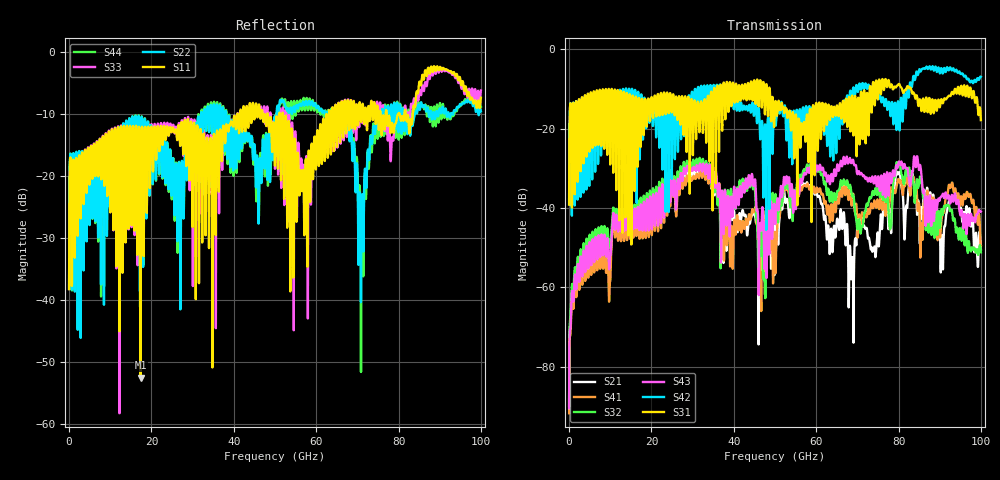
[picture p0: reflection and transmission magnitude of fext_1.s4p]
# Hz S RI R 50
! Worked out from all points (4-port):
!   10000 points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, 10 MHz to 100 GHz, reference 50 ohm
!   strongest paths, dB at 10 MHz, 25.01 GHz, 50.01 GHz, 75.01 GHz, 100 GHz:
!     S31: -39.1, -14.7, -14.0, -12.2, -17.9
!     S42: -39.1, -23.6, -16.0, -11.7, -6.9
!     S43: -90.4, -32.2, -43.6, -32.3, -40.9
!     S32: -88.7, -31.7, -38.9, -35.5, -51.1
!     S41: -91.7, -33.6, -47.1, -38.6, -49.6
!     S21: -89.7, -33.0, -46.0, -46.7, -50.4
!   lowest |S11| = -52.6 dB at 17.37 GHz (marker M1), VSWR 1.00, Z = 50 + j0.231 ohm
!   |S11| at or under -10 dB: start of sweep to 40.88 GHz; 48.2 GHz to 51.06 GHz (2.856 GHz wide, 5.76 % of centre); 51.9 GHz to 63.12 GHz (11.22 GHz wide, 19.5 % of centre)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
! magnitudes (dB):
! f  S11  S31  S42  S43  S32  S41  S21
! 10 MHz  -38.3  -39.1  -39.1  -90.4  -88.7  -91.7  -89.7
! 17.37 GHz  -52.6  -23.1  -12.9  -39.3  -37.4  -41.7  -39.5
! 47.4 GHz  -10.1  -11.4  -22.4  -53.6  -57.4  -46.0  -47.7
! 57.99 GHz  -20.3  -20.4  -17.4  -30.0  -29.5  -34.0  -34.2
! 68.79 GHz  -12.1  -12.0  -11.6  -28.1  -37.0  -37.9  -52.4
! 79.92 GHz  -10.0  -8.9  -13.3  -28.9  -29.1  -32.7  -31.3
! 100 GHz  -7.5  -17.9  -6.9  -40.9  -51.1  -49.6  -50.4
